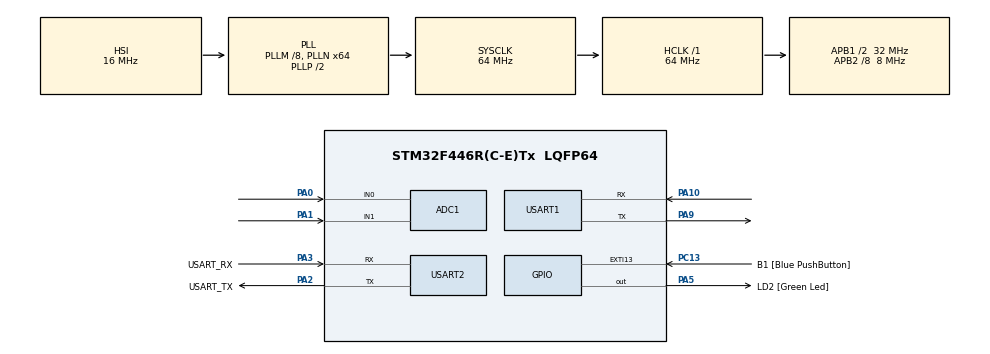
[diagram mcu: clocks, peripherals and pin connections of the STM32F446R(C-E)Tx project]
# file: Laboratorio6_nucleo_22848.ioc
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ADC1.Channel-0\#ChannelRegularConversion=ADC_CHANNEL_0
ADC1.Channel-1\#ChannelRegularConversion=ADC_CHANNEL_1
ADC1.ClockPrescaler=ADC_CLOCK_SYNC_PCLK_DIV8
ADC1.EOCSelection=ADC_EOC_SEQ_CONV
ADC1.NbrOfConversion=2
ADC1.NbrOfConversionFlag=1
ADC1.Rank-0\#ChannelRegularConversion=1
ADC1.Rank-1\#ChannelRegularConversion=2
ADC1.SamplingTime-0\#ChannelRegularConversion=ADC_SAMPLETIME_480CYCLES
ADC1.SamplingTime-1\#ChannelRegularConversion=ADC_SAMPLETIME_480CYCLES
ADC1.ScanConvMode=ENABLE
ADC1.master=1
Dma.ADC1.0.Direction=DMA_PERIPH_TO_MEMORY
Dma.ADC1.0.FIFOMode=DMA_FIFOMODE_DISABLE
Dma.ADC1.0.Instance=DMA2_Stream0
Dma.ADC1.0.MemDataAlignment=DMA_MDATAALIGN_HALFWORD
Dma.ADC1.0.MemInc=DMA_MINC_ENABLE
Dma.ADC1.0.Mode=DMA_NORMAL
Dma.ADC1.0.PeriphDataAlignment=DMA_PDATAALIGN_HALFWORD
Dma.ADC1.0.PeriphInc=DMA_PINC_DISABLE
Dma.ADC1.0.Priority=DMA_PRIORITY_LOW
Dma.Request0=ADC1
Mcu.Family=STM32F4
Mcu.Name=STM32F446R(C-E)Tx
Mcu.Package=LQFP64
NVIC.DMA2_Stream0_IRQn=true\:0\:0\:false\:false\:true\:false\:true\:true
NVIC.PriorityGroup=NVIC_PRIORITYGROUP_0
NVIC.USART1_IRQn=true\:0\:0\:false\:false\:true\:true\:true\:true
PA0-WKUP.Signal=ADCx_IN0
PA1.Signal=ADCx_IN1
PA10.Mode=Asynchronous
PA10.Signal=USART1_RX
PA13.GPIO_Label=TMS
PA13.Mode=Serial_Wire
PA13.Signal=SYS_JTMS-SWDIO
PA14.GPIO_Label=TCK
PA14.Mode=Serial_Wire
PA14.Signal=SYS_JTCK-SWCLK
PA2.GPIO_Label=USART_TX
PA2.Mode=Asynchronous
PA2.Signal=USART2_TX
PA3.GPIO_Label=USART_RX
PA3.Mode=Asynchronous
PA3.Signal=USART2_RX
PA5.GPIO_Label=LD2 [Green Led]
PA5.Signal=GPIO_Output
PA9.Mode=Asynchronous
PA9.Signal=USART1_TX
PB3.GPIO_Label=SWO
PB3.Signal=SYS_JTDO-SWO
PC13.GPIO_Label=B1 [Blue PushButton]
PC13.GPIO_ModeDefaultEXTI=GPIO_MODE_IT_FALLING
PC13.Signal=GPXTI13
PC14-OSC32_IN.Mode=LSE-External-Oscillator
PC14-OSC32_IN.Signal=RCC_OSC32_IN
PC15-OSC32_OUT.Mode=LSE-External-Oscillator
PC15-OSC32_OUT.Signal=RCC_OSC32_OUT
PH0-OSC_IN.Mode=HSE-External-Oscillator
PH0-OSC_IN.Signal=RCC_OSC_IN
PH1-OSC_OUT.Mode=HSE-External-Oscillator
PH1-OSC_OUT.Signal=RCC_OSC_OUT
ProjectManager.HeapSize=0x200
ProjectManager.StackSize=0x400
ProjectManager.TargetToolchain=STM32CubeIDE
RCC.48MHZClocksFreq_Value=84000000
RCC.AHBFreq_Value=64000000
RCC.APB1CLKDivider=RCC_HCLK_DIV2
RCC.APB1Freq_Value=32000000
RCC.APB1TimFreq_Value=64000000
RCC.APB2CLKDivider=RCC_HCLK_DIV8
RCC.APB2Freq_Value=8000000
RCC.APB2TimFreq_Value=16000000
RCC.CortexFreq_Value=64000000
RCC.FLatency-AdvancedSettings=FLASH_LATENCY_2
RCC.HCLKFreq_Value=64000000
RCC.HSE_VALUE=8000000
RCC.HSI_VALUE=16000000
RCC.PLLM=8
RCC.PLLN=64
RCC.SYSCLKFreq_VALUE=64000000
RCC.SYSCLKSource=RCC_SYSCLKSOURCE_PLLCLK
RCC.USBFreq_Value=64000000
RCC.VCOOutputFreq_Value=128000000
SH.ADCx_IN0.0=ADC1_IN0,IN0
SH.ADCx_IN1.0=ADC1_IN1,IN1
USART1.VirtualMode=VM_ASYNC
USART2.VirtualMode=VM_ASYNC
board=NUCLEO-F446RE

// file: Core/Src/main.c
/* USER CODE BEGIN Header */
/**
  ******************************************************************************
  * @file           : main.c
  * @brief          : Main program body
  ******************************************************************************
  * @attention
  *
  * Copyright (c) 2026 STMicroelectronics.
  * All rights reserved.
  *
  * This software is licensed under terms that can be found in the LICENSE file
  * in the root directory of this software component.
  * If no LICENSE file comes with this software, it is provided AS-IS.
  *
  ******************************************************************************
  */
/* USER CODE END Header */
#include "main.h"

/* USER CODE BEGIN Includes */
#include <stdio.h>
#include <string.h>
/* USER CODE END Includes */

ADC_HandleTypeDef hadc1;
DMA_HandleTypeDef hdma_adc1;

UART_HandleTypeDef huart1;
UART_HandleTypeDef huart2;

/* USER CODE BEGIN PV */
uint16_t ADCValor[2];
uint8_t estadoADC = 0;
uint8_t rx_data;

/* USER CODE END PV */

void SystemClock_Config(void);
static void MX_GPIO_Init(void);
static void MX_DMA_Init(void);
static void MX_ADC1_Init(void);
static void MX_USART1_UART_Init(void);
static void MX_USART2_UART_Init(void);

int main(void)
{

  /* MCU Configuration--------------------------------------------------------*/

  /* Reset of all peripherals, Initializes the Flash interface and the Systick. */
  HAL_Init();

  /* Configure the system clock */
  SystemClock_Config();

  /* Initialize all configured peripherals */
  MX_GPIO_Init();
  MX_DMA_Init();
  MX_ADC1_Init();
  MX_USART1_UART_Init();
  MX_USART2_UART_Init();
  /* USER CODE BEGIN 2 */
  HAL_ADC_Start_DMA(&hadc1, (uint32_t *)ADCValor, 2);
  HAL_UART_Receive_IT(&huart1, &rx_data, 1); //Recepcion por IT
  /* USER CODE END 2 */

  /* Infinite loop */
  while (1)
  {

    /* USER CODE BEGIN 3 */
	  if (estadoADC == 1){
		  HAL_ADC_Start_DMA(&hadc1, (uint32_t *)ADCValor, 2);
		  estadoADC = 0;
	  }

	  char datoArray[50];

	  uint16_t pot1 = ADCValor[0];
	  char*posicion;

	  if(pot1 <2048){

		  posicion = "Abajo";
	  }
	  else{
		  posicion = "Arriba";
	  }

	  uint16_t pot2 = ADCValor[1];
	  	  char*posicion2;

	  	  if(pot2 <2048){

	  		  posicion2 = "Izquierda";
	  	  }
	  	  else{
	  		  posicion2 = "Derecha";
	  	  }

	  	int len = snprintf(datoArray, sizeof(datoArray),
	  	                   "Control1: %s, %s\r\n", posicion, posicion2);

	  	HAL_UART_Transmit(&huart2, (uint8_t*)datoArray, len, 1000);
	  	HAL_Delay(250);
  }
  /* USER CODE END 3 */
}

void SystemClock_Config(void)
{
  RCC_OscInitTypeDef RCC_OscInitStruct = {0};
  RCC_ClkInitTypeDef RCC_ClkInitStruct = {0};

  /** Configure the main internal regulator output voltage
  */
  __HAL_RCC_PWR_CLK_ENABLE();
  __HAL_PWR_VOLTAGESCALING_CONFIG(PWR_REGULATOR_VOLTAGE_SCALE3);

  /** Initializes the RCC Oscillators according to the specified parameters
  * in the RCC_OscInitTypeDef structure.
  */
  RCC_OscInitStruct.OscillatorType = RCC_OSCILLATORTYPE_HSI;
  RCC_OscInitStruct.HSIState = RCC_HSI_ON;
  RCC_OscInitStruct.HSICalibrationValue = RCC_HSICALIBRATION_DEFAULT;
  RCC_OscInitStruct.PLL.PLLState = RCC_PLL_ON;
  RCC_OscInitStruct.PLL.PLLSource = RCC_PLLSOURCE_HSI;
  RCC_OscInitStruct.PLL.PLLM = 8;
  RCC_OscInitStruct.PLL.PLLN = 64;
  RCC_OscInitStruct.PLL.PLLP = RCC_PLLP_DIV2;
  RCC_OscInitStruct.PLL.PLLQ = 2;
  RCC_OscInitStruct.PLL.PLLR = 2;
  if (HAL_RCC_OscConfig(&RCC_OscInitStruct) != HAL_OK)
  {
    Error_Handler();
  }

  /** Initializes the CPU, AHB and APB buses clocks
  */
  RCC_ClkInitStruct.ClockType = RCC_CLOCKTYPE_HCLK|RCC_CLOCKTYPE_SYSCLK
                              |RCC_CLOCKTYPE_PCLK1|RCC_CLOCKTYPE_PCLK2;
  RCC_ClkInitStruct.SYSCLKSource = RCC_SYSCLKSOURCE_PLLCLK;
  RCC_ClkInitStruct.AHBCLKDivider = RCC_SYSCLK_DIV1;
  RCC_ClkInitStruct.APB1CLKDivider = RCC_HCLK_DIV2;
  RCC_ClkInitStruct.APB2CLKDivider = RCC_HCLK_DIV8;

  if (HAL_RCC_ClockConfig(&RCC_ClkInitStruct, FLASH_LATENCY_2) != HAL_OK)
  {
    Error_Handler();
  }
}

static void MX_ADC1_Init(void)
{

  ADC_ChannelConfTypeDef sConfig = {0};

  /** Configure the global features of the ADC (Clock, Resolution, Data Alignment and number of conversion)
  */
  hadc1.Instance = ADC1;
  hadc1.Init.ClockPrescaler = ADC_CLOCK_SYNC_PCLK_DIV8;
  hadc1.Init.Resolution = ADC_RESOLUTION_12B;
  hadc1.Init.ScanConvMode = ENABLE;
  hadc1.Init.ContinuousConvMode = DISABLE;
  hadc1.Init.DiscontinuousConvMode = DISABLE;
  hadc1.Init.ExternalTrigConvEdge = ADC_EXTERNALTRIGCONVEDGE_NONE;
  hadc1.Init.ExternalTrigConv = ADC_SOFTWARE_START;
  hadc1.Init.DataAlign = ADC_DATAALIGN_RIGHT;
  hadc1.Init.NbrOfConversion = 2;
  hadc1.Init.DMAContinuousRequests = DISABLE;
  hadc1.Init.EOCSelection = ADC_EOC_SEQ_CONV;
  if (HAL_ADC_Init(&hadc1) != HAL_OK)
  {
    Error_Handler();
  }

  /** Configure for the selected ADC regular channel its corresponding rank in the sequencer and its sample time.
  */
  sConfig.Channel = ADC_CHANNEL_0;
  sConfig.Rank = 1;
  sConfig.SamplingTime = ADC_SAMPLETIME_480CYCLES;
  if (HAL_ADC_ConfigChannel(&hadc1, &sConfig) != HAL_OK)
  {
    Error_Handler();
  }

  /** Configure for the selected ADC regular channel its corresponding rank in the sequencer and its sample time.
  */
  sConfig.Channel = ADC_CHANNEL_1;
  sConfig.Rank = 2;
  if (HAL_ADC_ConfigChannel(&hadc1, &sConfig) != HAL_OK)
  {
    Error_Handler();
  }

}

static void MX_USART1_UART_Init(void)
{

  huart1.Instance = USART1;
  huart1.Init.BaudRate = 115200;
  huart1.Init.WordLength = UART_WORDLENGTH_8B;
  huart1.Init.StopBits = UART_STOPBITS_1;
  huart1.Init.Parity = UART_PARITY_NONE;
  huart1.Init.Mode = UART_MODE_TX_RX;
  huart1.Init.HwFlowCtl = UART_HWCONTROL_NONE;
  huart1.Init.OverSampling = UART_OVERSAMPLING_16;
  if (HAL_UART_Init(&huart1) != HAL_OK)
  {
    Error_Handler();
  }

}

static void MX_USART2_UART_Init(void)
{

  huart2.Instance = USART2;
  huart2.Init.BaudRate = 115200;
  huart2.Init.WordLength = UART_WORDLENGTH_8B;
  huart2.Init.StopBits = UART_STOPBITS_1;
  huart2.Init.Parity = UART_PARITY_NONE;
  huart2.Init.Mode = UART_MODE_TX_RX;
  huart2.Init.HwFlowCtl = UART_HWCONTROL_NONE;
  huart2.Init.OverSampling = UART_OVERSAMPLING_16;
  if (HAL_UART_Init(&huart2) != HAL_OK)
  {
    Error_Handler();
  }

}

static void MX_DMA_Init(void)
{

  /* DMA controller clock enable */
  __HAL_RCC_DMA2_CLK_ENABLE();

  /* DMA interrupt init */
  /* DMA2_Stream0_IRQn interrupt configuration */
  HAL_NVIC_SetPriority(DMA2_Stream0_IRQn, 0, 0);
  HAL_NVIC_EnableIRQ(DMA2_Stream0_IRQn);

}

static void MX_GPIO_Init(void)
{
  GPIO_InitTypeDef GPIO_InitStruct = {0};

  /* GPIO Ports Clock Enable */
  __HAL_RCC_GPIOC_CLK_ENABLE();
  __HAL_RCC_GPIOH_CLK_ENABLE();
  __HAL_RCC_GPIOA_CLK_ENABLE();
  __HAL_RCC_GPIOB_CLK_ENABLE();

  /*Configure GPIO pin Output Level */
  HAL_GPIO_WritePin(LD2_GPIO_Port, LD2_Pin, GPIO_PIN_RESET);

  /*Configure GPIO pin : B1_Pin */
  GPIO_InitStruct.Pin = B1_Pin;
  GPIO_InitStruct.Mode = GPIO_MODE_IT_FALLING;
  GPIO_InitStruct.Pull = GPIO_NOPULL;
  HAL_GPIO_Init(B1_GPIO_Port, &GPIO_InitStruct);

  /*Configure GPIO pin : LD2_Pin */
  GPIO_InitStruct.Pin = LD2_Pin;
  GPIO_InitStruct.Mode = GPIO_MODE_OUTPUT_PP;
  GPIO_InitStruct.Pull = GPIO_NOPULL;
  GPIO_InitStruct.Speed = GPIO_SPEED_FREQ_LOW;
  HAL_GPIO_Init(LD2_GPIO_Port, &GPIO_InitStruct);

}

/* USER CODE BEGIN 4 */
void HAL_ADC_ConvCpltCallback(ADC_HandleTypeDef *hadc){
	estadoADC = 1;
}
void HAL_UART_RxCpltCallback(UART_HandleTypeDef *huart)
{
    if (huart->Instance == USART1)  // UART del control
    {
        char mensaje[50];

        switch(rx_data)
        {
            case '1':
                sprintf(mensaje, "Control2: Arriba\r\n");
                break;

            case '2':
                sprintf(mensaje, "Control2: Abajo\r\n");
                break;

            case '3':
                sprintf(mensaje, "Control2: Derecha\r\n");
                break;

            case '4':
                sprintf(mensaje, "Control2: Izquierda\r\n");
                break;

            case '5':
                sprintf(mensaje, "Control2: A\r\n");
                break;

            case '6':
                sprintf(mensaje, "Control2: B\r\n");
                break;

            default:
                sprintf(mensaje, "Recibido: %c\r\n", rx_data);
                break;
        }

        // Enviar a USART2 (pantalla)
        HAL_UART_Transmit(&huart2, (uint8_t*)mensaje, strlen(mensaje), 100);

        //Volver a activar la interrupcion
        HAL_UART_Receive_IT(&huart1, &rx_data, 1);
    }
}
/* USER CODE END 4 */

void Error_Handler(void)
{
  __disable_irq();
  while (1)
  {
  }
}
